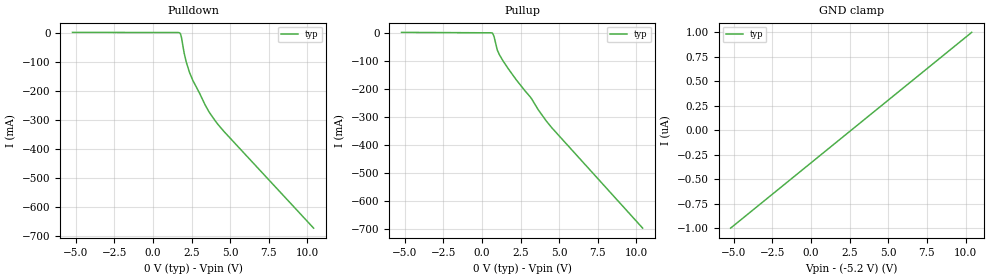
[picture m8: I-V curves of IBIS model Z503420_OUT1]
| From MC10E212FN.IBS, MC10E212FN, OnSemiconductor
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| (C) COPYRIGHT 1993-2000
| MENTOR GRAPHICS CORPORATION
| ICX STANDARD LIBRARY, ICX PROJECT MODELING,
| ICX CUSTOM MODELING, ICX VENDOR MODEL
| ALL RIGHTS RESERVED.
| THE FOLLOWING ARE TRADEMARKS OR SERVICE MARKS OF
| MENTOR GRAPHICS CORPORATION:ICX (R), ICX STANDARD
| LIBRARY(R), ICX PROJECT MODELING(R), ICX CUSTOM
| MODELING(R), qualityIBIS(TM), MODELVIEWER(TM),
| AND MODELEDITOR(TM)
| ALL COPIES OF SOFTWARE, INCLUDING BUT NOT LIMITED TO
| ANY MODIFICATIONS, ENHANCEMENTS OR DERIVATIVE WORKS,
| MUST CONTAIN ALL MENTOR GRAPHICS CORPORATION'S
| NOTICES AND LEGENDS, INCLUDING THOSE EMBEDDED IN
| SOFTWARE AND THOSE AFFIXED TO SOFTWARE MEDIUM
| AND CONTAINER, AS RECEIVED FROM MENTOR GRAPHICS
| CORPORATION.
| Model Application Version 1.89 2/18/99.
[Model] Z503420_OUT1
Model_type Output_ECL
Vref=-2.000V
Rref=50.00ohms
Cref=0.000F
Vmeas=-1.305V
C_comp 8.000pF NA NA
| variable typ   min   max
[Voltage Range] -5.200V NA NA
[POWER Clamp Reference] 0.000V NA NA
[Pullup Reference] 0.000V NA NA
[Pulldown Reference] 0.000V NA NA
[GND Clamp Reference] -5.200V NA NA
[GND Clamp]
-5.2V     -1uA       NA         NA
10.4V     1uA        NA         NA
[Pulldown]
-5.2V     518.3uA    NA         NA
1.604V    33.77uA    NA         NA
1.758V    -2.552mA   NA         NA
1.846V    -15.81mA   NA         NA
2.022V    -70.33mA   NA         NA
2.151V    -100.1mA   NA         NA
2.37V     -137.4mA   NA         NA
2.579V    -164.3mA   NA         NA
3.638V    -273.9mA   NA         NA
4.21V     -316.5mA   NA         NA
4.62V     -342.1mA   NA         NA
10.4V     -674mA     NA         NA
[Pullup]
-5.2V     1.38mA     NA         NA
683.6mV   -1.308mA   NA         NA
775mV     -11.31mA   NA         NA
996.2mV   -62.05mA   NA         NA
1.138V    -79.08mA   NA         NA
1.372V    -100.8mA   NA         NA
2.217V    -167.6mA   NA         NA
3.129V    -229.1mA   NA         NA
3.638V    -274.3mA   NA         NA
4.15V     -313.9mA   NA         NA
4.522V    -339.1mA   NA         NA
10.4V     -697.4mA   NA         NA
[POWER Clamp]
-5.2V     0A         NA         NA
10.4V     0A         NA         NA
[Ramp]
| variable typ min max
dV/dt_r 604.7m/272.9p NA NA
dV/dt_f 604.7m/268.1p NA NA
R_load = 500.0Ohms
